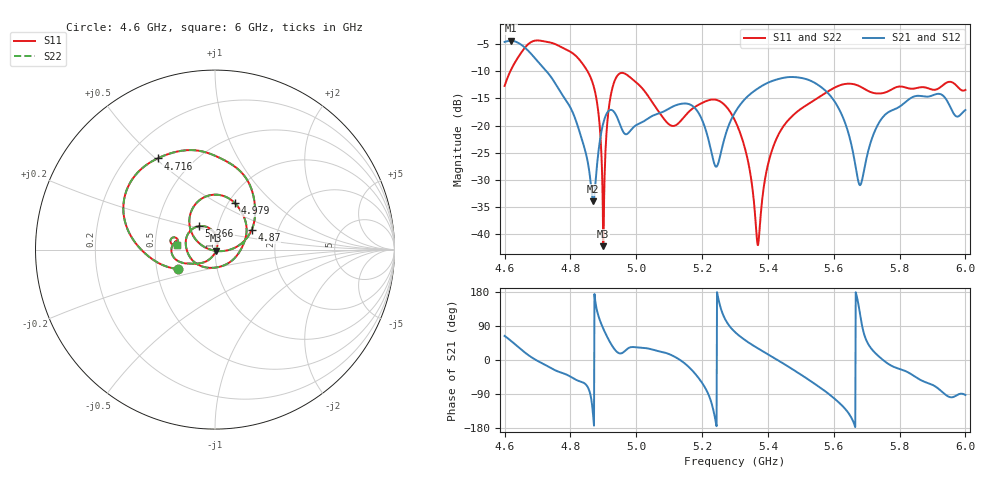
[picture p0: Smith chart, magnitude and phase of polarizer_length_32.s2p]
! TOUCHSTONE file generated by CST MICROWAVE STUDIO
! Date and time: Sun Dec  1 17:16:53 2024
! Project name: test_tuning.cst
! Parameters = {airCoaxOuterDiameter=3; chamferAngle=45; chamferWidth=24; connectorLength=10; drillingHoleDiameter=4.1; feedLength=60; flareDiameter=130; flareLength=70; gratingDistance=0; gratingGap=1.90274; outletLength=30; polarizerLength=126; probe1Diameter=1.3; probe1Distance=14; probe1Length=1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
! Header version: 2024
! Port assignment regex: !\s*Touchstone port\s*([0-9]+)\s*=\s*(CST MWS port|CST DES external port|CST DES block port)\s*(.+)\s* \(\"(.*)\"\)(\s*mode\s*([0-9]+))?.*
! Touchstone port assignment:
! Touchstone port 1 = CST MWS port 1 ("Input1")
! Touchstone port 2 = CST MWS port 2 ("Input2")
# GHz S MA R 50
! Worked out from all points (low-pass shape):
!   1001 points, 4.6 GHz to 6 GHz, reference 50 ohm
!   highest |S21| = -4.38 dB at 4.618 GHz (marker M1); lowest = -34.0 dB at 4.869 GHz (marker M2)
!   |S21| within 3 dB of the highest: start of sweep to 4.689 GHz
!   lowest |S11| = -42.2 dB at 4.9 GHz (marker M3), VSWR 1.02, Z = 50.4 - j0.689 ohm
!   |S11| at or under -10 dB: start of sweep to 4.617226 GHz; 4.852 GHz to end of sweep
!   |S22| runs from -42.2 to -4.3 dB; largest |S21 - S12| = 4.3e-07
!   S11 on the Smith chart (normalised r, x): 4.6 GHz: 0.65, -0.15; 4.716 GHz: 0.32, +0.51; 4.87 GHz: 1.47, +0.34; 4.979 GHz: 1.07, +0.60; 5.266 GHz: 0.81, +0.22; 6 GHz: 0.65, +0.04
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4.6  0.2321 -152.3  0.5897 63.5  0.5897 63.5  0.2321 -152.3
4.6182  0.3209 -166.2  0.6043 51.4  0.6043 51.4  0.3209 -166.2
4.7162  0.6005 122.2  0.345 -9.6  0.345 -9.6  0.6005 122.2
4.8338  0.3822 56.9  0.07644 -57.8  0.07644 -57.8  0.3822 56.9
4.8688  0.2405 29.9  0.02005 -145.1  0.02005 -145.1  0.2405 29.9
4.8702  0.2326 28.4  0.02008 -159.2  0.02008 -159.2  0.2326 28.4
4.8996  0.007759 -61.8  0.1049 83.2  0.1049 83.2  0.007759 -61.8
4.9276  0.2228 129.7  0.1383 36.3  0.1383 36.3  0.2228 129.7
4.9794  0.2817 66.9  0.08778 32.8  0.08778 32.8  0.2817 66.9
5.0676  0.1354 -6.6  0.1291 23.3  0.1291 23.3  0.1354 -6.6
5.174  0.1457 -163.4  0.1492 -31.3  0.1492 -31.3  0.1457 -163.4
5.2426  0.1729 142.6  0.04182 -168.2  0.04182 -168.2  0.1729 142.6
5.2664  0.1573 124.0  0.07327 114.1  0.07327 114.1  0.1573 124.0
5.3  0.1113 99.5  0.1322 73.7  0.1322 73.7  0.1113 99.5
5.3406  0.04536 72.7  0.1886 46.5  0.1886 46.5  0.04536 72.7
5.37  0.007933 -26.7  0.2204 30.5  0.2204 30.5  0.007933 -26.7
5.4218  0.07075 -122.9  0.2631 3.7  0.2631 3.7  0.07075 -122.9
5.5338  0.1662 -152.1  0.2556 -58.0  0.2556 -58.0  0.1662 -152.1
5.6206  0.2363 -170.6  0.1335 -116.2  0.1335 -116.2  0.2363 -170.6
5.6794  0.2299 171.9  0.02829 123.7  0.02829 123.7  0.2299 171.9
5.7676  0.2087 176.4  0.1339 -11.3  0.1339 -11.3  0.2087 176.4
6  0.2132 172.8  0.1392 -92.3  0.1392 -92.3  0.2132 172.8
